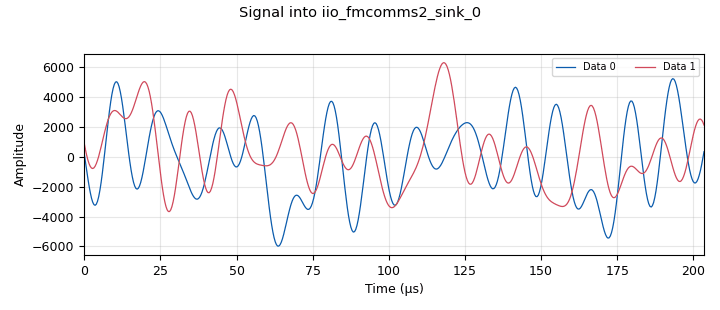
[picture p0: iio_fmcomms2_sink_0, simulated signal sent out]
<?xml version='1.0' encoding='utf-8'?>
<?grc format='1' created='3.7.8'?>
<flow_graph>
<block>
<key>options</key>
<param><key>id</key><value>sin_f10e3_tcp_wbfm_stream</value></param>
<param><key>category</key><value>Custom</value></param>
<param><key>generate_options</key><value>qt_gui</value></param>
</block>
<block>
<key>variable</key>
<param><key>id</key><value>DAC_scale</value></param>
<param><key>value</key><value>4096</value></param>
</block>
<block>
<key>variable</key>
<param><key>id</key><value>audio_interp</value></param>
<param><key>value</key><value>4</value></param>
</block>
<block>
<key>variable</key>
<param><key>id</key><value>audio_rate</value></param>
<param><key>value</key><value>48000</value></param>
</block>
<block>
<key>variable</key>
<param><key>id</key><value>fmcomms_interp</value></param>
<param><key>value</key><value>1</value></param>
</block>
<block>
<key>variable</key>
<param><key>id</key><value>rf_freq</value></param>
<param><key>value</key><value>int(2.6*10**9)</value></param>
</block>
<block>
<key>variable</key>
<param><key>id</key><value>rx_port</value></param>
<param><key>value</key><value>12346</value></param>
</block>
<block>
<key>variable</key>
<param><key>id</key><value>samp_rate</value></param>
<param><key>value</key><value>2536000</value></param>
</block>
<block>
<key>analog_sig_source_x</key>
<param><key>id</key><value>analog_sig_source_x_0</value></param>
<param><key>amp</key><value>5</value></param>
<param><key>freq</key><value>10000</value></param>
<param><key>offset</key><value>0</value></param>
<param><key>type</key><value>float</value></param>
<param><key>samp_rate</key><value>audio_rate</value></param>
<param><key>waveform</key><value>analog.GR_SIN_WAVE</value></param>
</block>
<block>
<key>analog_wfm_rcv</key>
<param><key>id</key><value>analog_wfm_rcv_0</value></param>
<param><key>audio_decimation</key><value>audio_interp</value></param>
<param><key>quad_rate</key><value>audio_rate*audio_interp</value></param>
</block>
<block>
<key>analog_wfm_tx</key>
<param><key>id</key><value>analog_wfm_tx_0</value></param>
<param><key>audio_rate</key><value>audio_rate</value></param>
<param><key>max_dev</key><value>5e3</value></param>
<param><key>quad_rate</key><value>audio_rate*audio_interp</value></param>
<param><key>tau</key><value>75e-6</value></param>
</block>
<block>
<key>blks2_tcp_sink</key>
<param><key>id</key><value>blks2_tcp_sink_0</value></param>
<param><key>addr</key><value>pc_host_ip</value></param>
<param><key>type</key><value>float</value></param>
<param><key>server</key><value>False</value></param>
<param><key>port</key><value>rx_port</value></param>
<param><key>vlen</key><value>1</value></param>
</block>
<block>
<key>blocks_complex_to_float</key>
<param><key>id</key><value>blocks_complex_to_float_0</value></param>
</block>
<block>
<key>blocks_float_to_complex</key>
<param><key>id</key><value>blocks_float_to_complex_0</value></param>
</block>
<block>
<key>blocks_float_to_short</key>
<param><key>id</key><value>blocks_float_to_short_0</value></param>
<param><key>scale</key><value>DAC_scale</value></param>
</block>
<block>
<key>blocks_float_to_short</key>
<param><key>id</key><value>blocks_float_to_short_0_0</value></param>
<param><key>scale</key><value>DAC_scale</value></param>
</block>
<block>
<key>blocks_short_to_float</key>
<param><key>id</key><value>blocks_short_to_float_0</value></param>
<param><key>scale</key><value>1</value></param>
</block>
<block>
<key>blocks_short_to_float</key>
<param><key>id</key><value>blocks_short_to_float_0_0</value></param>
<param><key>scale</key><value>1</value></param>
</block>
<block>
<key>iio_fmcomms2_sink</key>
<param><key>id</key><value>iio_fmcomms2_sink_0</value></param>
<param><key>attenuation1</key><value>0</value></param>
<param><key>attenuation2</key><value>0</value></param>
<param><key>buffer_size</key><value>0x8000</value></param>
<param><key>ch1_en</key><value>True</value></param>
<param><key>ch2_en</key><value>True</value></param>
<param><key>ch3_en</key><value>False</value></param>
<param><key>ch4_en</key><value>False</value></param>
<param><key>cyclic</key><value>False</value></param>
<param><key>host</key><value>127.0.0.1</value></param>
<param><key>interpolation</key><value>fmcomms_interp</value></param>
<param><key>frequency</key><value>rf_freq</value></param>
<param><key>rf_port_select</key><value>"A"</value></param>
<param><key>bandwidth</key><value>20000000</value></param>
<param><key>samplerate</key><value>samp_rate</value></param>
</block>
<block>
<key>iio_fmcomms2_source</key>
<param><key>id</key><value>iio_fmcomms2_source_0</value></param>
<param><key>bbdc</key><value>True</value></param>
<param><key>buffer_size</key><value>0x8000</value></param>
<param><key>ch1_en</key><value>False</value></param>
<param><key>ch2_en</key><value>False</value></param>
<param><key>ch3_en</key><value>True</value></param>
<param><key>ch4_en</key><value>True</value></param>
<param><key>decimation</key><value>fmcomms_interp</value></param>
<param><key>gain1</key><value>"manual"</value></param>
<param><key>gain2</key><value>"manual"</value></param>
<param><key>host</key><value>127.0.0.1</value></param>
<param><key>frequency</key><value>rf_freq</value></param>
<param><key>manual_gain1</key><value>64.0</value></param>
<param><key>manual_gain2</key><value>64.0</value></param>
<param><key>quadrature</key><value>True</value></param>
<param><key>rfdc</key><value>True</value></param>
<param><key>rf_port_select</key><value>"A_BALANCED"</value></param>
<param><key>bandwidth</key><value>20000000</value></param>
<param><key>samplerate</key><value>samp_rate</value></param>
</block>
<block>
<key>parameter</key>
<param><key>id</key><value>pc_host_ip</value></param>
<param><key>type</key><value>string</value></param>
<param><key>value</key><value>192.168.0.10</value></param>
</block>
<block>
<key>rational_resampler_xxx</key>
<param><key>id</key><value>rational_resampler_xxx_0</value></param>
<param><key>decim</key><value>audio_rate * audio_interp</value></param>
<param><key>interp</key><value>samp_rate</value></param>
<param><key>taps</key><value></value></param>
<param><key>type</key><value>ccc</value></param>
</block>
<block>
<key>rational_resampler_xxx</key>
<param><key>id</key><value>rational_resampler_xxx_1</value></param>
<param><key>decim</key><value>samp_rate</value></param>
<param><key>interp</key><value>audio_rate*audio_interp</value></param>
<param><key>taps</key><value></value></param>
<param><key>type</key><value>ccc</value></param>
</block>
<connection><source_block_id>analog_sig_source_x_0</source_block_id><sink_block_id>analog_wfm_tx_0</sink_block_id><source_key>0</source_key><sink_key>0</sink_key></connection>
<connection><source_block_id>analog_wfm_rcv_0</source_block_id><sink_block_id>blks2_tcp_sink_0</sink_block_id><source_key>0</source_key><sink_key>0</sink_key></connection>
<connection><source_block_id>analog_wfm_tx_0</source_block_id><sink_block_id>rational_resampler_xxx_0</sink_block_id><source_key>0</source_key><sink_key>0</sink_key></connection>
<connection><source_block_id>blocks_complex_to_float_0</source_block_id><sink_block_id>blocks_float_to_short_0</sink_block_id><source_key>1</source_key><sink_key>0</sink_key></connection>
<connection><source_block_id>blocks_complex_to_float_0</source_block_id><sink_block_id>blocks_float_to_short_0_0</sink_block_id><source_key>0</source_key><sink_key>0</sink_key></connection>
<connection><source_block_id>blocks_float_to_complex_0</source_block_id><sink_block_id>rational_resampler_xxx_1</sink_block_id><source_key>0</source_key><sink_key>0</sink_key></connection>
<connection><source_block_id>blocks_float_to_short_0</source_block_id><sink_block_id>iio_fmcomms2_sink_0</sink_block_id><source_key>0</source_key><sink_key>1</sink_key></connection>
<connection><source_block_id>blocks_float_to_short_0_0</source_block_id><sink_block_id>iio_fmcomms2_sink_0</sink_block_id><source_key>0</source_key><sink_key>0</sink_key></connection>
<connection><source_block_id>blocks_short_to_float_0</source_block_id><sink_block_id>blocks_float_to_complex_0</sink_block_id><source_key>0</source_key><sink_key>0</sink_key></connection>
<connection><source_block_id>blocks_short_to_float_0_0</source_block_id><sink_block_id>blocks_float_to_complex_0</sink_block_id><source_key>0</source_key><sink_key>1</sink_key></connection>
<connection><source_block_id>iio_fmcomms2_source_0</source_block_id><sink_block_id>blocks_short_to_float_0</sink_block_id><source_key>0</source_key><sink_key>0</sink_key></connection>
<connection><source_block_id>iio_fmcomms2_source_0</source_block_id><sink_block_id>blocks_short_to_float_0_0</sink_block_id><source_key>1</source_key><sink_key>0</sink_key></connection>
<connection><source_block_id>rational_resampler_xxx_0</source_block_id><sink_block_id>blocks_complex_to_float_0</sink_block_id><source_key>0</source_key><sink_key>0</sink_key></connection>
<connection><source_block_id>rational_resampler_xxx_1</source_block_id><sink_block_id>analog_wfm_rcv_0</sink_block_id><source_key>0</source_key><sink_key>0</sink_key></connection>
</flow_graph>
